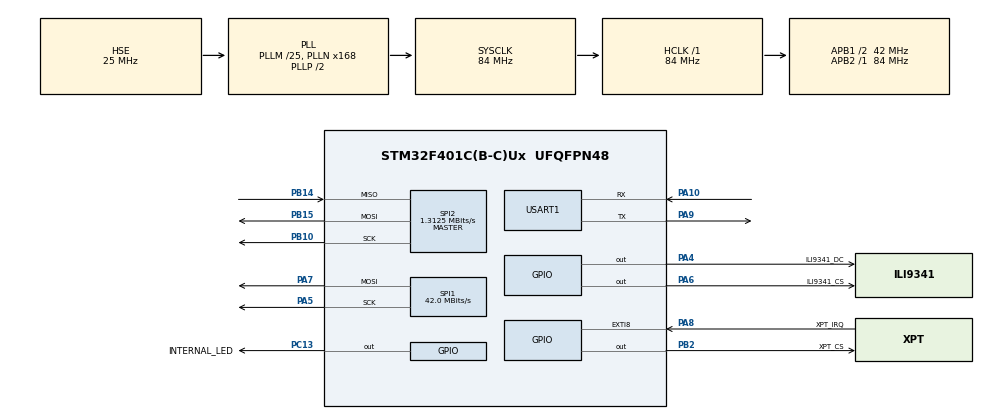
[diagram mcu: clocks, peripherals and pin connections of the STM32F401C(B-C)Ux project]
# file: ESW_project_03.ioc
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Dma.Request0=SPI1_TX
Dma.SPI1_TX.0.Direction=DMA_MEMORY_TO_PERIPH
Dma.SPI1_TX.0.FIFOMode=DMA_FIFOMODE_ENABLE
Dma.SPI1_TX.0.FIFOThreshold=DMA_FIFO_THRESHOLD_FULL
Dma.SPI1_TX.0.Instance=DMA2_Stream3
Dma.SPI1_TX.0.MemBurst=DMA_MBURST_INC4
Dma.SPI1_TX.0.MemDataAlignment=DMA_MDATAALIGN_WORD
Dma.SPI1_TX.0.MemInc=DMA_MINC_ENABLE
Dma.SPI1_TX.0.Mode=DMA_NORMAL
Dma.SPI1_TX.0.PeriphBurst=DMA_PBURST_SINGLE
Dma.SPI1_TX.0.PeriphDataAlignment=DMA_PDATAALIGN_BYTE
Dma.SPI1_TX.0.PeriphInc=DMA_PINC_DISABLE
Dma.SPI1_TX.0.Priority=DMA_PRIORITY_LOW
Mcu.Family=STM32F4
Mcu.Name=STM32F401C(B-C)Ux
Mcu.Package=UFQFPN48
NVIC.DMA2_Stream3_IRQn=true\:0\:0\:false\:false\:true\:false\:true\:true
NVIC.PriorityGroup=NVIC_PRIORITYGROUP_4
PA10.Mode=Asynchronous
PA10.Signal=USART1_RX
PA13.Mode=Serial_Wire
PA13.Signal=SYS_JTMS-SWDIO
PA14.Mode=Serial_Wire
PA14.Signal=SYS_JTCK-SWCLK
PA4.GPIO_Label=ILI9341_DC
PA4.PinState=GPIO_PIN_SET
PA4.Signal=GPIO_Output
PA5.Mode=TX_Only_Simplex_Unidirect_Master
PA5.Signal=SPI1_SCK
PA6.GPIO_Label=ILI9341_CS
PA6.PinState=GPIO_PIN_SET
PA6.Signal=GPIO_Output
PA7.Mode=TX_Only_Simplex_Unidirect_Master
PA7.Signal=SPI1_MOSI
PA8.GPIO_Label=XPT_IRQ
PA8.GPIO_ModeDefaultEXTI=GPIO_MODE_IT_FALLING
PA8.GPIO_PuPd=GPIO_PULLUP
PA8.Signal=GPXTI8
PA9.Mode=Asynchronous
PA9.Signal=USART1_TX
PB10.Mode=Full_Duplex_Master
PB10.Signal=SPI2_SCK
PB14.Mode=Full_Duplex_Master
PB14.Signal=SPI2_MISO
PB15.Mode=Full_Duplex_Master
PB15.Signal=SPI2_MOSI
PB2.GPIO_Label=XPT_CS
PB2.PinState=GPIO_PIN_SET
PB2.Signal=GPIO_Output
PC13-ANTI_TAMP.GPIO_Label=INTERNAL_LED
PC13-ANTI_TAMP.PinState=GPIO_PIN_SET
PC13-ANTI_TAMP.Signal=GPIO_Output
PC14-OSC32_IN.Mode=LSE-External-Oscillator
PC14-OSC32_IN.Signal=RCC_OSC32_IN
PC15-OSC32_OUT.Mode=LSE-External-Oscillator
PC15-OSC32_OUT.Signal=RCC_OSC32_OUT
PH0\ -\ OSC_IN.Mode=HSE-External-Oscillator
PH0\ -\ OSC_IN.Signal=RCC_OSC_IN
PH1\ -\ OSC_OUT.Mode=HSE-External-Oscillator
PH1\ -\ OSC_OUT.Signal=RCC_OSC_OUT
ProjectManager.HeapSize=0x200
ProjectManager.StackSize=0x400
ProjectManager.TargetToolchain=STM32CubeIDE
RCC.48MHZClocksFreq_Value=42000000
RCC.AHBFreq_Value=84000000
RCC.APB1CLKDivider=RCC_HCLK_DIV2
RCC.APB1Freq_Value=42000000
RCC.APB1TimFreq_Value=84000000
RCC.APB2Freq_Value=84000000
RCC.APB2TimFreq_Value=84000000
RCC.CortexFreq_Value=84000000
RCC.HCLKFreq_Value=84000000
RCC.HSE_VALUE=25000000
RCC.HSI_VALUE=16000000
RCC.PLLM=25
RCC.PLLN=168
RCC.PLLSourceVirtual=RCC_PLLSOURCE_HSE
RCC.SYSCLKFreq_VALUE=84000000
RCC.SYSCLKSource=RCC_SYSCLKSOURCE_PLLCLK
RCC.VCOOutputFreq_Value=168000000
SPI1.CalculateBaudRate=42.0 MBits/s
SPI1.Direction=SPI_DIRECTION_2LINES
SPI1.Mode=SPI_MODE_MASTER
SPI1.VirtualType=VM_MASTER
SPI2.BaudRatePrescaler=SPI_BAUDRATEPRESCALER_32
SPI2.CLKPhase=SPI_PHASE_1EDGE
SPI2.CalculateBaudRate=1.3125 MBits/s
SPI2.Direction=SPI_DIRECTION_2LINES
SPI2.Mode=SPI_MODE_MASTER
SPI2.VirtualType=VM_MASTER
USART1.VirtualMode=VM_ASYNC
board=custom

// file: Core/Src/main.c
/* USER CODE BEGIN Header */
/**
  ******************************************************************************
  * @file           : main.c
  * @brief          : Main program body
  ******************************************************************************
  * @attention
  *
  * Copyright (c) 2026 STMicroelectronics.
  * All rights reserved.
  *
  * This software is licensed under terms that can be found in the LICENSE file
  * in the root directory of this software component.
  * If no LICENSE file comes with this software, it is provided AS-IS.
  *
  ******************************************************************************
  */
/* USER CODE END Header */
#include "main.h"

/* USER CODE BEGIN Includes */
#include "stdio.h"
#include "stdlib.h"
#include "xpt2046.h"
#include "ili9341.h"
#include "render.h"
#include "button.h"
/* USER CODE END Includes */

/* USER CODE BEGIN PTD */
// touch point struct
typedef struct  {
  uint16_t x;
  uint16_t y;
} Point;
/* USER CODE END PTD */

/* USER CODE BEGIN PD */
#define DEBUG_MODE false
/* USER CODE END PD */

SPI_HandleTypeDef hspi1;
SPI_HandleTypeDef hspi2;
DMA_HandleTypeDef hdma_spi1_tx;

UART_HandleTypeDef huart1;

/* USER CODE BEGIN PV */

// global states for line buffer render & send
volatile int draw_ready = 1;
volatile int send_ready = 0;

/* USER CODE END PV */

void SystemClock_Config(void);
static void MX_GPIO_Init(void);
static void MX_DMA_Init(void);
static void MX_SPI1_Init(void);
static void MX_SPI2_Init(void);
static void MX_USART1_UART_Init(void);

/* USER CODE BEGIN 0 */
#if DEBUG_MODE
int _write(int file, char * p, int len) {
  if (HAL_UART_Transmit(&huart1, (uint8_t *)p, len, 100) == HAL_OK)
    return len;
  return -1;
}
#endif

// volatile int touch_flag = 0;
// void HAL_GPIO_EXTI_Callback(uint16_t GPIO_Pin)
// {
//   if( GPIO_Pin == XPT_IRQ_Pin ) {
//     touch_flag = 1;
//   }
// }

void HAL_SPI_TxCpltCallback(SPI_HandleTypeDef *hspi) {
  if (hspi->Instance == SPI1) {
    draw_ready = 1;
  }
}

/* USER CODE END 0 */

int main(void)
{

  /* MCU Configuration--------------------------------------------------------*/

  /* Reset of all peripherals, Initializes the Flash interface and the Systick. */
  HAL_Init();

  /* Configure the system clock */
  SystemClock_Config();

  /* Initialize all configured peripherals */
  MX_GPIO_Init();
  MX_DMA_Init();
  MX_SPI1_Init();
  MX_SPI2_Init();
  MX_USART1_UART_Init();

  /* USER CODE BEGIN 2 */
  #if DEBUG_MODE
  printf("getting stated...\r\n");
  #endif

  // touch variables
  point touch;
  Point last_touch_point = {0, 0};
  xpt_init(&touch, &hspi2, XPT_CS_GPIO_Port, XPT_CS_Pin);

  unsigned int last_touch_time = 0;
  unsigned int last_buffer_tick = 0;

  int is_touched = 0;
  int is_button_processed = 0;

  // renderer variables
  uint16_t arr[ILI9341_WIDTH * 2] ={};
  uint16_t* line_buf[2] = {arr, (arr + ILI9341_WIDTH)};
  unsigned int draw_num = 0;
  unsigned int line_num = 0;

  // lcd init
  ILI9341_Init();

  HAL_GPIO_WritePin(ILI9341_CS_GPIO_Port, ILI9341_CS_Pin, 0);
  HAL_GPIO_WritePin(ILI9341_DC_GPIO_Port, ILI9341_DC_Pin, 0);
  ILI9341_SetAddressWindow(0, 0, ILI9341_WIDTH - 1, ILI9341_HEIGHT - 1);
  HAL_GPIO_WritePin(ILI9341_CS_GPIO_Port, ILI9341_CS_Pin, 1);

  RENDER_InitUI();

  /* USER CODE END 2 */

  /* Infinite loop */
  /* USER CODE BEGIN WHILE */
  while (1)
  {
    // touch poller
    if(HAL_GPIO_ReadPin(XPT_IRQ_GPIO_Port, XPT_IRQ_Pin) == 0 && HAL_GetTick() - last_touch_time >= 10 && xpt_read(&touch)) {
      last_touch_time = HAL_GetTick(); // Update last touch time
      last_touch_point.x = touch.m_x;
      last_touch_point.y = touch.m_y;
      is_touched = 1;

      #if DEBUG_MODE
      printf("x: %d, y: %d\r\n", last_touch_point.x, last_touch_point.y);
      #endif
    }
    // touch release detector
    else if(HAL_GetTick() - last_touch_time >= 50){
      // touch_flag = 0;
      is_touched = 0;
      is_button_processed = 0;
    }

    // cursor noise reducer
    if(is_touched && (abs(last_touch_point.x - g_entities[0].x) > 5 || abs(last_touch_point.y - g_entities[0].y) > 5)) {
      // update cursor
      g_entities[0].x = touch.m_x;
      g_entities[0].y = touch.m_y;
    }

    // button hanlder
    if(is_touched && !is_button_processed) {
      is_button_processed = 1;

      // button hanlder 0
      if(BUTTON_POWER_X < touch.m_x && touch.m_x < BUTTON_POWER_X + BUTTON_WIDTH && BUTTON_POWER_Y < touch.m_y && touch.m_y < BUTTON_POWER_Y + BUTTON_WIDTH) {
        HAL_GPIO_TogglePin(INTERNAL_LED_GPIO_Port, INTERNAL_LED_Pin);

        #if DEBUG_MODE
        printf("power button\r\n");
        #endif
      }
      // button hanlder 1
      if(BUTTON_COLOR_X < touch.m_x && touch.m_x < BUTTON_COLOR_X + BUTTON_WIDTH && BUTTON_COLOR_Y < touch.m_y && touch.m_y < BUTTON_COLOR_Y + BUTTON_WIDTH) {
        change_bg_color();

        #if DEBUG_MODE
        printf("color button\r\n");
        #endif
      }
    }

    // draw line buffer
    if(draw_ready) {
      draw_ready = 0;

      draw_line(line_num, line_buf[draw_num]);
      send_ready = 1;

      if (++line_num == ILI9341_HEIGHT) {
        line_num = 0;
        end_of_frame();
      }
    }

    // send line buffer
    if(send_ready && HAL_GetTick() - last_buffer_tick >= 2 && HAL_SPI_GetState(&hspi1) != HAL_SPI_STATE_BUSY_TX) {
      send_ready = 0;

      HAL_GPIO_WritePin(ILI9341_CS_GPIO_Port, ILI9341_CS_Pin, 0);
      HAL_GPIO_WritePin(ILI9341_DC_GPIO_Port, ILI9341_DC_Pin, 1);
      // HAL_SPI_Transmit 함수를 사용하여 line_buf를 SPI로 보냄.
      HAL_SPI_Transmit_DMA(&hspi1, (uint8_t *)line_buf[draw_num], ILI9341_WIDTH*2);

      #if DEBUG_MODE
      printf("start sending line_buf[%d]\r\n", draw_num);
      #endif

      draw_num++;
      draw_num &= 1;
    }

    #if DEBUG_MODE
    HAL_Delay(500);
    #endif

    /* USER CODE END WHILE */

  }
}

void SystemClock_Config(void)
{
  RCC_OscInitTypeDef RCC_OscInitStruct = {0};
  RCC_ClkInitTypeDef RCC_ClkInitStruct = {0};

  /** Configure the main internal regulator output voltage
  */
  __HAL_RCC_PWR_CLK_ENABLE();
  __HAL_PWR_VOLTAGESCALING_CONFIG(PWR_REGULATOR_VOLTAGE_SCALE2);

  /** Initializes the RCC Oscillators according to the specified parameters
  * in the RCC_OscInitTypeDef structure.
  */
  RCC_OscInitStruct.OscillatorType = RCC_OSCILLATORTYPE_HSE;
  RCC_OscInitStruct.HSEState = RCC_HSE_ON;
  RCC_OscInitStruct.PLL.PLLState = RCC_PLL_ON;
  RCC_OscInitStruct.PLL.PLLSource = RCC_PLLSOURCE_HSE;
  RCC_OscInitStruct.PLL.PLLM = 25;
  RCC_OscInitStruct.PLL.PLLN = 168;
  RCC_OscInitStruct.PLL.PLLP = RCC_PLLP_DIV2;
  RCC_OscInitStruct.PLL.PLLQ = 4;
  if (HAL_RCC_OscConfig(&RCC_OscInitStruct) != HAL_OK)
  {
    Error_Handler();
  }

  /** Initializes the CPU, AHB and APB buses clocks
  */
  RCC_ClkInitStruct.ClockType = RCC_CLOCKTYPE_HCLK|RCC_CLOCKTYPE_SYSCLK
                              |RCC_CLOCKTYPE_PCLK1|RCC_CLOCKTYPE_PCLK2;
  RCC_ClkInitStruct.SYSCLKSource = RCC_SYSCLKSOURCE_PLLCLK;
  RCC_ClkInitStruct.AHBCLKDivider = RCC_SYSCLK_DIV1;
  RCC_ClkInitStruct.APB1CLKDivider = RCC_HCLK_DIV2;
  RCC_ClkInitStruct.APB2CLKDivider = RCC_HCLK_DIV1;

  if (HAL_RCC_ClockConfig(&RCC_ClkInitStruct, FLASH_LATENCY_2) != HAL_OK)
  {
    Error_Handler();
  }
}

static void MX_SPI1_Init(void)
{

  /* SPI1 parameter configuration*/
  hspi1.Instance = SPI1;
  hspi1.Init.Mode = SPI_MODE_MASTER;
  hspi1.Init.Direction = SPI_DIRECTION_2LINES;
  hspi1.Init.DataSize = SPI_DATASIZE_8BIT;
  hspi1.Init.CLKPolarity = SPI_POLARITY_LOW;
  hspi1.Init.CLKPhase = SPI_PHASE_1EDGE;
  hspi1.Init.NSS = SPI_NSS_SOFT;
  hspi1.Init.BaudRatePrescaler = SPI_BAUDRATEPRESCALER_2;
  hspi1.Init.FirstBit = SPI_FIRSTBIT_MSB;
  hspi1.Init.TIMode = SPI_TIMODE_DISABLE;
  hspi1.Init.CRCCalculation = SPI_CRCCALCULATION_DISABLE;
  hspi1.Init.CRCPolynomial = 10;
  if (HAL_SPI_Init(&hspi1) != HAL_OK)
  {
    Error_Handler();
  }

}

static void MX_SPI2_Init(void)
{

  /* SPI2 parameter configuration*/
  hspi2.Instance = SPI2;
  hspi2.Init.Mode = SPI_MODE_MASTER;
  hspi2.Init.Direction = SPI_DIRECTION_2LINES;
  hspi2.Init.DataSize = SPI_DATASIZE_8BIT;
  hspi2.Init.CLKPolarity = SPI_POLARITY_LOW;
  hspi2.Init.CLKPhase = SPI_PHASE_1EDGE;
  hspi2.Init.NSS = SPI_NSS_SOFT;
  hspi2.Init.BaudRatePrescaler = SPI_BAUDRATEPRESCALER_32;
  hspi2.Init.FirstBit = SPI_FIRSTBIT_MSB;
  hspi2.Init.TIMode = SPI_TIMODE_DISABLE;
  hspi2.Init.CRCCalculation = SPI_CRCCALCULATION_DISABLE;
  hspi2.Init.CRCPolynomial = 10;
  if (HAL_SPI_Init(&hspi2) != HAL_OK)
  {
    Error_Handler();
  }

}

static void MX_USART1_UART_Init(void)
{

  huart1.Instance = USART1;
  huart1.Init.BaudRate = 115200;
  huart1.Init.WordLength = UART_WORDLENGTH_8B;
  huart1.Init.StopBits = UART_STOPBITS_1;
  huart1.Init.Parity = UART_PARITY_NONE;
  huart1.Init.Mode = UART_MODE_TX_RX;
  huart1.Init.HwFlowCtl = UART_HWCONTROL_NONE;
  huart1.Init.OverSampling = UART_OVERSAMPLING_16;
  if (HAL_UART_Init(&huart1) != HAL_OK)
  {
    Error_Handler();
  }

}

static void MX_DMA_Init(void)
{

  /* DMA controller clock enable */
  __HAL_RCC_DMA2_CLK_ENABLE();

  /* DMA interrupt init */
  /* DMA2_Stream3_IRQn interrupt configuration */
  HAL_NVIC_SetPriority(DMA2_Stream3_IRQn, 0, 0);
  HAL_NVIC_EnableIRQ(DMA2_Stream3_IRQn);

}

static void MX_GPIO_Init(void)
{
  GPIO_InitTypeDef GPIO_InitStruct = {0};

  /* GPIO Ports Clock Enable */
  __HAL_RCC_GPIOC_CLK_ENABLE();
  __HAL_RCC_GPIOH_CLK_ENABLE();
  __HAL_RCC_GPIOA_CLK_ENABLE();
  __HAL_RCC_GPIOB_CLK_ENABLE();

  /*Configure GPIO pin Output Level */
  HAL_GPIO_WritePin(INTERNAL_LED_GPIO_Port, INTERNAL_LED_Pin, GPIO_PIN_SET);

  /*Configure GPIO pin Output Level */
  HAL_GPIO_WritePin(GPIOA, ILI9341_DC_Pin|ILI9341_CS_Pin, GPIO_PIN_SET);

  /*Configure GPIO pin Output Level */
  HAL_GPIO_WritePin(XPT_CS_GPIO_Port, XPT_CS_Pin, GPIO_PIN_SET);

  /*Configure GPIO pin : INTERNAL_LED_Pin */
  GPIO_InitStruct.Pin = INTERNAL_LED_Pin;
  GPIO_InitStruct.Mode = GPIO_MODE_OUTPUT_PP;
  GPIO_InitStruct.Pull = GPIO_NOPULL;
  GPIO_InitStruct.Speed = GPIO_SPEED_FREQ_LOW;
  HAL_GPIO_Init(INTERNAL_LED_GPIO_Port, &GPIO_InitStruct);

  /*Configure GPIO pins : ILI9341_DC_Pin ILI9341_CS_Pin */
  GPIO_InitStruct.Pin = ILI9341_DC_Pin|ILI9341_CS_Pin;
  GPIO_InitStruct.Mode = GPIO_MODE_OUTPUT_PP;
  GPIO_InitStruct.Pull = GPIO_NOPULL;
  GPIO_InitStruct.Speed = GPIO_SPEED_FREQ_LOW;
  HAL_GPIO_Init(GPIOA, &GPIO_InitStruct);

  /*Configure GPIO pin : XPT_CS_Pin */
  GPIO_InitStruct.Pin = XPT_CS_Pin;
  GPIO_InitStruct.Mode = GPIO_MODE_OUTPUT_PP;
  GPIO_InitStruct.Pull = GPIO_NOPULL;
  GPIO_InitStruct.Speed = GPIO_SPEED_FREQ_LOW;
  HAL_GPIO_Init(XPT_CS_GPIO_Port, &GPIO_InitStruct);

  /*Configure GPIO pin : XPT_IRQ_Pin */
  GPIO_InitStruct.Pin = XPT_IRQ_Pin;
  GPIO_InitStruct.Mode = GPIO_MODE_IT_FALLING;
  GPIO_InitStruct.Pull = GPIO_PULLUP;
  HAL_GPIO_Init(XPT_IRQ_GPIO_Port, &GPIO_InitStruct);

}

void Error_Handler(void)
{
  __disable_irq();
  while (1)
  {
  }
}
#if USE_FULL_ASSERT
/**
  * @brief  Reports the name of the source file and the source line number
  *         where the assert_param error has occurred.
  * @param  file: pointer to the source file name
  * @param  line: assert_param error line source number
  * @retval None
  */
void assert_failed(uint8_t *file, uint32_t line)
{
  /* USER CODE BEGIN 6 */
  /* User can add his own implementation to report the file name and line number,
    //  ex: printf("Wrong parameters value: file %s on line %d\r\n", file, line) */
  /* USER CODE END 6 */
}
#endif /* USE_FULL_ASSERT */
